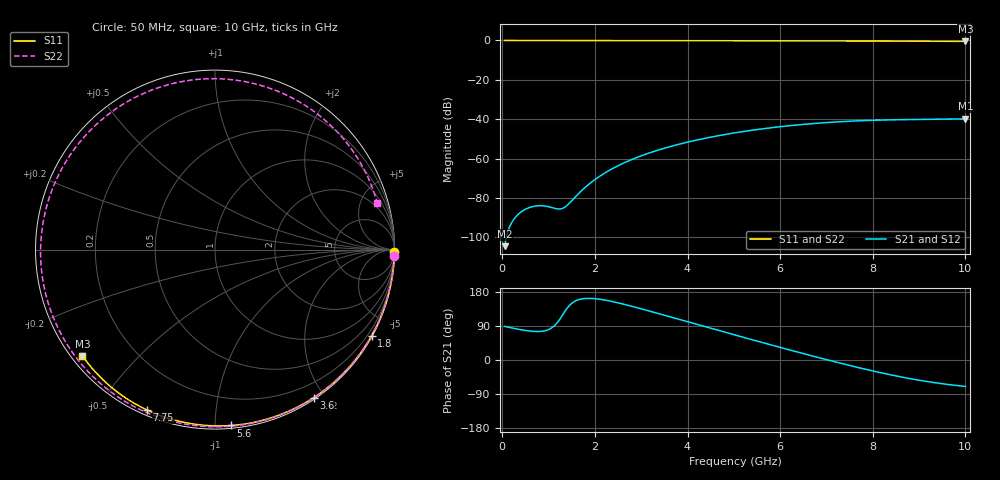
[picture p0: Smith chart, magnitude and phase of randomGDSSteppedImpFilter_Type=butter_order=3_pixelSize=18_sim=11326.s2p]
! freq	dB(S11)	phase(S11)	dB(S12)	phase(S12)
!  dB(S21)	phase(S21)	dB(S22)	phase(S22)
!S-par simulation data
#  GHz  S  DB  R 50
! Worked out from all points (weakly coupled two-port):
!   200 points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, 50 MHz to 10 GHz, reference 50 ohm
!   highest |S21| = -39.76 dB at 10 GHz (marker M1); lowest = -104.4 dB at 50 MHz (marker M2)
!   lowest |S11| = -0.5 dB at 10 GHz (marker M3), VSWR 36.60, Z = 1.53 - j17.6 ohm
!   |S11| at or under -10 dB: nowhere
!   |S22| runs from -0.5 to 0.0 dB; largest |S21 - S12| = 0
!   S11 on the Smith chart (normalised r, x): 50 MHz: open; 1.8 GHz: 0.03, -3.88; 3.6 GHz: 0.02, -1.87; 5.6 GHz: 0.02, -1.10; 7.75 GHz: 0.02, -0.66; 10 GHz: 0.03, -0.35
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0.05  -0.00 -0.8  -104.42 88.7  -104.42 88.7  -0.00 -2.0
0.75  -0.02 -12.1  -83.97 75.1  -83.97 75.1  -0.04 -28.8
1.55  -0.03 -24.9  -80.08 153.9  -80.08 153.9  -0.07 -58.5
1.75  -0.04 -28.1  -75.39 161.8  -75.39 161.8  -0.08 -65.6
1.8  -0.04 -28.9  -74.35 162.4  -74.35 162.4  -0.08 -67.4
2.15  -0.04 -34.3  -68.23 159.6  -68.23 159.6  -0.10 -79.6
2.5  -0.05 -39.8  -63.58 150.8  -63.58 150.8  -0.11 -91.5
2.95  -0.06 -46.6  -58.99 136.7  -58.99 136.7  -0.13 -106.3
3.4  -0.07 -53.4  -55.40 121.6  -55.40 121.6  -0.15 -120.6
3.6  -0.08 -56.4  -54.03 114.8  -54.03 114.8  -0.15 -126.9
4.35  -0.10 -67.3  -49.80 89.1  -49.80 89.1  -0.19 -149.9
5.05  -0.12 -77.2  -46.79 65.2  -46.79 65.2  -0.23 -171.2
5.6  -0.14 -84.8  -44.91 46.6  -44.91 46.6  -0.27 171.9
6.15  -0.16 -92.2  -43.40 28.3  -43.40 28.3  -0.30 154.6
6.7  -0.19 -99.4  -42.20 10.4  -42.20 10.4  -0.34 136.7
7.25  -0.23 -106.6  -41.30 -6.8  -41.30 -6.8  -0.38 118.0
7.75  -0.26 -113.0  -40.73 -21.7  -40.73 -21.7  -0.41 100.3
8.35  -0.31 -120.5  -40.31 -38.2  -40.31 -38.2  -0.44 78.2
8.7  -0.34 -124.9  -40.18 -46.8  -40.18 -46.8  -0.46 65.1
9.1  -0.38 -129.9  -40.08 -55.4  -40.08 -55.4  -0.48 49.9
9.55  -0.42 -135.6  -39.97 -63.4  -39.97 -63.4  -0.50 32.8
10  -0.47 -141.2  -39.76 -69.8  -39.76 -69.8  -0.53 16.0
